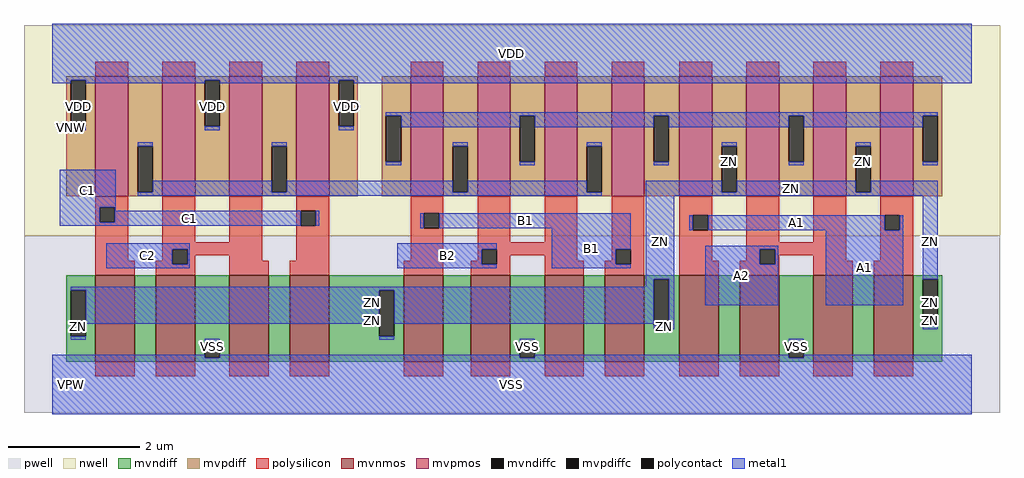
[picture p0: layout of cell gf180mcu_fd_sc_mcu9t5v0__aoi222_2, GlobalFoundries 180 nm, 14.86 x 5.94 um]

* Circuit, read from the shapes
.subckt gf180mcu_fd_sc_mcu9t5v0__aoi222_2 A1 A2 B1 B2 C1 C2 ZN VDD VNW VPW VSS
XM1 n1 C1 ZN VPW nfet_06v0 w=1.32u l=0.6u
XM2 VSS C2 n1 VPW nfet_06v0 w=1.32u l=0.6u
XM3 n2 C2 VSS VPW nfet_06v0 w=1.32u l=0.6u
XM4 ZN C1 n2 VPW nfet_06v0 w=1.32u l=0.6u
XM5 n3 B1 ZN VPW nfet_06v0 w=1.32u l=0.6u
XM6 VSS B2 n3 VPW nfet_06v0 w=1.32u l=0.6u
XM7 n4 B2 VSS VPW nfet_06v0 w=1.32u l=0.6u
XM8 ZN B1 n4 VPW nfet_06v0 w=1.32u l=0.6u
XM9 n5 A1 ZN VPW nfet_06v0 w=1.32u l=0.6u
XM10 VSS A2 n5 VPW nfet_06v0 w=1.32u l=0.6u
XM11 n6 A2 VSS VPW nfet_06v0 w=1.32u l=0.6u
XM12 ZN A1 n6 VPW nfet_06v0 w=1.32u l=0.6u
XM13 n7 C1 VDD VNW pfet_06v0 w=1.83u l=0.5u m=2
XM14 VDD C2 n7 VNW pfet_06v0 w=1.83u l=0.5u m=2
XM15 n7 B1 n8 VNW pfet_06v0 w=1.83u l=0.5u m=2
XM16 n8 B2 n7 VNW pfet_06v0 w=1.83u l=0.5u m=2
XM17 ZN A1 n8 VNW pfet_06v0 w=1.83u l=0.5u m=2
XM18 n8 A2 ZN VNW pfet_06v0 w=1.83u l=0.5u m=2
.ends

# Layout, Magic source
magic
tech gf180mcuD
magscale 1 10
<< nwell >>
rect -86 453 2886 1094
<< pwell >>
rect -86 -86 2886 453
<< mvnmos >>
rect 131 69 251 333
rect 315 69 435 333
rect 539 69 659 333
rect 723 69 843 333
rect 1071 69 1191 333
rect 1275 69 1395 333
rect 1499 69 1619 333
rect 1683 69 1803 333
rect 1910 69 2030 333
rect 2094 69 2214 333
rect 2318 69 2438 333
rect 2502 69 2622 333
<< mvpmos >>
rect 131 573 231 939
rect 335 573 435 939
rect 539 573 639 939
rect 743 573 843 939
rect 1091 573 1191 939
rect 1295 573 1395 939
rect 1499 573 1599 939
rect 1703 573 1803 939
rect 1910 573 2010 939
rect 2114 573 2214 939
rect 2318 573 2418 939
rect 2522 573 2622 939
<< mvndiff >>
rect 43 287 131 333
rect 43 147 56 287
rect 102 147 131 287
rect 43 69 131 147
rect 251 69 315 333
rect 435 128 539 333
rect 435 82 464 128
rect 510 82 539 128
rect 435 69 539 82
rect 659 69 723 333
rect 843 287 1071 333
rect 843 147 996 287
rect 1042 147 1071 287
rect 843 69 1071 147
rect 1191 69 1275 333
rect 1395 128 1499 333
rect 1395 82 1424 128
rect 1470 82 1499 128
rect 1395 69 1499 82
rect 1619 69 1683 333
rect 1803 320 1910 333
rect 1803 180 1832 320
rect 1878 180 1910 320
rect 1803 69 1910 180
rect 2030 69 2094 333
rect 2214 128 2318 333
rect 2214 82 2243 128
rect 2289 82 2318 128
rect 2214 69 2318 82
rect 2438 69 2502 333
rect 2622 320 2710 333
rect 2622 180 2651 320
rect 2697 180 2710 320
rect 2622 69 2710 180
<< mvpdiff >>
rect 43 926 131 939
rect 43 786 56 926
rect 102 786 131 926
rect 43 573 131 786
rect 231 726 335 939
rect 231 586 260 726
rect 306 586 335 726
rect 231 573 335 586
rect 435 926 539 939
rect 435 786 464 926
rect 510 786 539 926
rect 435 573 539 786
rect 639 726 743 939
rect 639 586 668 726
rect 714 586 743 726
rect 639 573 743 586
rect 843 926 931 939
rect 843 786 872 926
rect 918 786 931 926
rect 843 573 931 786
rect 1003 818 1091 939
rect 1003 678 1016 818
rect 1062 678 1091 818
rect 1003 573 1091 678
rect 1191 726 1295 939
rect 1191 586 1220 726
rect 1266 586 1295 726
rect 1191 573 1295 586
rect 1395 818 1499 939
rect 1395 678 1424 818
rect 1470 678 1499 818
rect 1395 573 1499 678
rect 1599 726 1703 939
rect 1599 586 1628 726
rect 1674 586 1703 726
rect 1599 573 1703 586
rect 1803 818 1910 939
rect 1803 678 1832 818
rect 1878 678 1910 818
rect 1803 573 1910 678
rect 2010 726 2114 939
rect 2010 586 2039 726
rect 2085 586 2114 726
rect 2010 573 2114 586
rect 2214 818 2318 939
rect 2214 678 2243 818
rect 2289 678 2318 818
rect 2214 573 2318 678
rect 2418 726 2522 939
rect 2418 586 2447 726
rect 2493 586 2522 726
rect 2418 573 2522 586
rect 2622 818 2710 939
rect 2622 678 2651 818
rect 2697 678 2710 818
rect 2622 573 2710 678
<< mvndiffc >>
rect 56 147 102 287
rect 464 82 510 128
rect 996 147 1042 287
rect 1424 82 1470 128
rect 1832 180 1878 320
rect 2243 82 2289 128
rect 2651 180 2697 320
<< mvpdiffc >>
rect 56 786 102 926
rect 260 586 306 726
rect 464 786 510 926
rect 668 586 714 726
rect 872 786 918 926
rect 1016 678 1062 818
rect 1220 586 1266 726
rect 1424 678 1470 818
rect 1628 586 1674 726
rect 1832 678 1878 818
rect 2039 586 2085 726
rect 2243 678 2289 818
rect 2447 586 2493 726
rect 2651 678 2697 818
<< polysilicon >>
rect 131 939 231 983
rect 335 939 435 983
rect 539 939 639 983
rect 743 939 843 983
rect 1091 939 1191 983
rect 1295 939 1395 983
rect 1499 939 1599 983
rect 1703 939 1803 983
rect 1910 939 2010 983
rect 2114 939 2214 983
rect 2318 939 2418 983
rect 2522 939 2622 983
rect 131 540 231 573
rect 131 494 144 540
rect 190 494 231 540
rect 131 377 231 494
rect 335 433 435 573
rect 539 433 639 573
rect 335 412 639 433
rect 335 377 366 412
rect 131 333 251 377
rect 315 366 366 377
rect 412 393 639 412
rect 412 366 435 393
rect 315 333 435 366
rect 539 377 639 393
rect 743 529 843 573
rect 743 483 756 529
rect 802 483 843 529
rect 743 377 843 483
rect 1091 522 1191 573
rect 1091 476 1132 522
rect 1178 476 1191 522
rect 1091 377 1191 476
rect 1295 433 1395 573
rect 1499 433 1599 573
rect 1295 412 1599 433
rect 1295 377 1308 412
rect 539 333 659 377
rect 723 333 843 377
rect 1071 333 1191 377
rect 1275 366 1308 377
rect 1354 393 1599 412
rect 1354 366 1395 393
rect 1275 333 1395 366
rect 1499 377 1599 393
rect 1703 412 1803 573
rect 1703 377 1716 412
rect 1499 333 1619 377
rect 1683 366 1716 377
rect 1762 366 1803 412
rect 1683 333 1803 366
rect 1910 515 2010 573
rect 1910 469 1951 515
rect 1997 469 2010 515
rect 1910 377 2010 469
rect 2114 433 2214 573
rect 2318 433 2418 573
rect 2114 412 2418 433
rect 2114 377 2155 412
rect 1910 333 2030 377
rect 2094 366 2155 377
rect 2201 393 2418 412
rect 2201 366 2214 393
rect 2094 333 2214 366
rect 2318 377 2418 393
rect 2522 515 2622 573
rect 2522 469 2535 515
rect 2581 469 2622 515
rect 2522 377 2622 469
rect 2318 333 2438 377
rect 2502 333 2622 377
rect 131 25 251 69
rect 315 25 435 69
rect 539 25 659 69
rect 723 25 843 69
rect 1071 25 1191 69
rect 1275 25 1395 69
rect 1499 25 1619 69
rect 1683 25 1803 69
rect 1910 25 2030 69
rect 2094 25 2214 69
rect 2318 25 2438 69
rect 2502 25 2622 69
<< polycontact >>
rect 144 494 190 540
rect 366 366 412 412
rect 756 483 802 529
rect 1132 476 1178 522
rect 1308 366 1354 412
rect 1716 366 1762 412
rect 1951 469 1997 515
rect 2155 366 2201 412
rect 2535 469 2581 515
<< metal1 >>
rect 0 926 2800 1098
rect 0 918 56 926
rect 102 918 464 926
rect 56 775 102 786
rect 510 918 872 926
rect 464 775 510 786
rect 918 918 2800 926
rect 872 775 918 786
rect 1016 818 2697 829
rect 260 726 306 737
rect 23 540 194 654
rect 668 726 714 737
rect 306 586 668 621
rect 1062 783 1424 818
rect 1016 667 1062 678
rect 1220 726 1266 737
rect 714 586 1220 621
rect 1470 783 1832 818
rect 1424 667 1470 678
rect 1628 726 1674 737
rect 1266 586 1628 621
rect 1878 783 2243 818
rect 1832 667 1878 678
rect 2039 726 2085 737
rect 260 575 1674 586
rect 1808 586 2039 621
rect 2289 783 2651 818
rect 2243 667 2289 678
rect 2447 726 2493 737
rect 2085 586 2447 621
rect 2651 667 2697 678
rect 2493 586 2697 621
rect 1808 575 2697 586
rect 23 494 144 540
rect 190 529 194 540
rect 190 494 756 529
rect 23 483 756 494
rect 802 483 813 529
rect 1121 476 1132 522
rect 1178 476 1762 522
rect 165 412 418 430
rect 165 366 366 412
rect 412 366 418 412
rect 165 354 418 366
rect 1051 412 1354 430
rect 1051 366 1308 412
rect 1051 354 1354 366
rect 1521 412 1762 476
rect 1521 366 1716 412
rect 1521 354 1762 366
rect 1808 320 1894 575
rect 1940 469 1951 515
rect 1997 469 2535 515
rect 2581 469 2592 515
rect 1808 298 1832 320
rect 56 287 1832 298
rect 102 185 996 287
rect 56 136 102 147
rect 1042 185 1832 287
rect 1878 180 1894 320
rect 1989 412 2210 423
rect 1989 366 2155 412
rect 2201 366 2210 412
rect 1989 242 2210 366
rect 2355 242 2592 469
rect 2651 320 2697 575
rect 1832 169 1894 180
rect 2651 169 2697 180
rect 464 128 510 139
rect 996 136 1042 147
rect 0 82 464 90
rect 1424 128 1470 139
rect 510 82 1424 90
rect 2243 128 2289 139
rect 1470 82 2243 90
rect 2289 82 2800 90
rect 0 -90 2800 82
<< labels >>
flabel metal1 s 1940 469 2592 515 0 FreeSans 200 0 0 0 A1
port 1 nsew default input
flabel metal1 s 1989 242 2210 423 0 FreeSans 200 0 0 0 A2
port 2 nsew default input
flabel metal1 s 1121 476 1762 522 0 FreeSans 200 0 0 0 B1
port 3 nsew default input
flabel metal1 s 1051 354 1354 430 0 FreeSans 200 0 0 0 B2
port 4 nsew default input
flabel metal1 s 23 529 194 654 0 FreeSans 200 0 0 0 C1
port 5 nsew default input
flabel metal1 s 165 354 418 430 0 FreeSans 200 0 0 0 C2
port 6 nsew default input
flabel metal1 s 0 918 2800 1098 0 FreeSans 200 0 0 0 VDD
port 8 nsew power bidirectional abutment
flabel metal1 s 2243 90 2289 139 0 FreeSans 200 0 0 0 VSS
port 11 nsew ground bidirectional abutment
flabel metal1 s 2447 621 2493 737 0 FreeSans 200 0 0 0 ZN
port 7 nsew default output
flabel nwell s 10 734 110 834 0 FreeSans 400 0 0 0 VNW
port 9 nsew power bidirectional
flabel pwell s 10 -50 110 50 0 FreeSans 400 0 0 0 VPW
port 10 nsew ground bidirectional
rlabel metal1 s 2355 242 2592 469 1 A1
port 1 nsew default input
rlabel metal1 s 1521 354 1762 476 1 B1
port 3 nsew default input
rlabel metal1 s 23 483 813 529 1 C1
port 5 nsew default input
rlabel metal1 s 2039 621 2085 737 1 ZN
port 7 nsew default output
rlabel metal1 s 1808 575 2697 621 1 ZN
port 7 nsew default output
rlabel metal1 s 2651 298 2697 575 1 ZN
port 7 nsew default output
rlabel metal1 s 1808 298 1894 575 1 ZN
port 7 nsew default output
rlabel metal1 s 2651 202 2697 298 1 ZN
port 7 nsew default output
rlabel metal1 s 56 202 1894 298 1 ZN
port 7 nsew default output
rlabel metal1 s 2651 185 2697 202 1 ZN
port 7 nsew default output
rlabel metal1 s 56 185 1894 202 1 ZN
port 7 nsew default output
rlabel metal1 s 2651 169 2697 185 1 ZN
port 7 nsew default output
rlabel metal1 s 1832 169 1894 185 1 ZN
port 7 nsew default output
rlabel metal1 s 996 169 1042 185 1 ZN
port 7 nsew default output
rlabel metal1 s 56 169 102 185 1 ZN
port 7 nsew default output
rlabel metal1 s 996 136 1042 169 1 ZN
port 7 nsew default output
rlabel metal1 s 56 136 102 169 1 ZN
port 7 nsew default output
rlabel metal1 s 872 775 918 918 1 VDD
port 8 nsew power bidirectional abutment
rlabel metal1 s 464 775 510 918 1 VDD
port 8 nsew power bidirectional abutment
rlabel metal1 s 56 775 102 918 1 VDD
port 8 nsew power bidirectional abutment
rlabel metal1 s 1424 90 1470 139 1 VSS
port 11 nsew ground bidirectional abutment
rlabel metal1 s 464 90 510 139 1 VSS
port 11 nsew ground bidirectional abutment
rlabel metal1 s 0 -90 2800 90 1 VSS
port 11 nsew ground bidirectional abutment
<< properties >>
string FIXED_BBOX 0 0 2800 1008
string GDS_END 1247510
string GDS_FILE $PDKPATH/libs.ref/gf180mcu_fd_sc_mcu9t5v0/gds/gf180mcu_fd_sc_mcu9t5v0.gds
string GDS_START 1240474
string LEFclass core
string LEFsite GF018hv5v_green_sc9
string LEFsymmetry X Y
<< end >>
